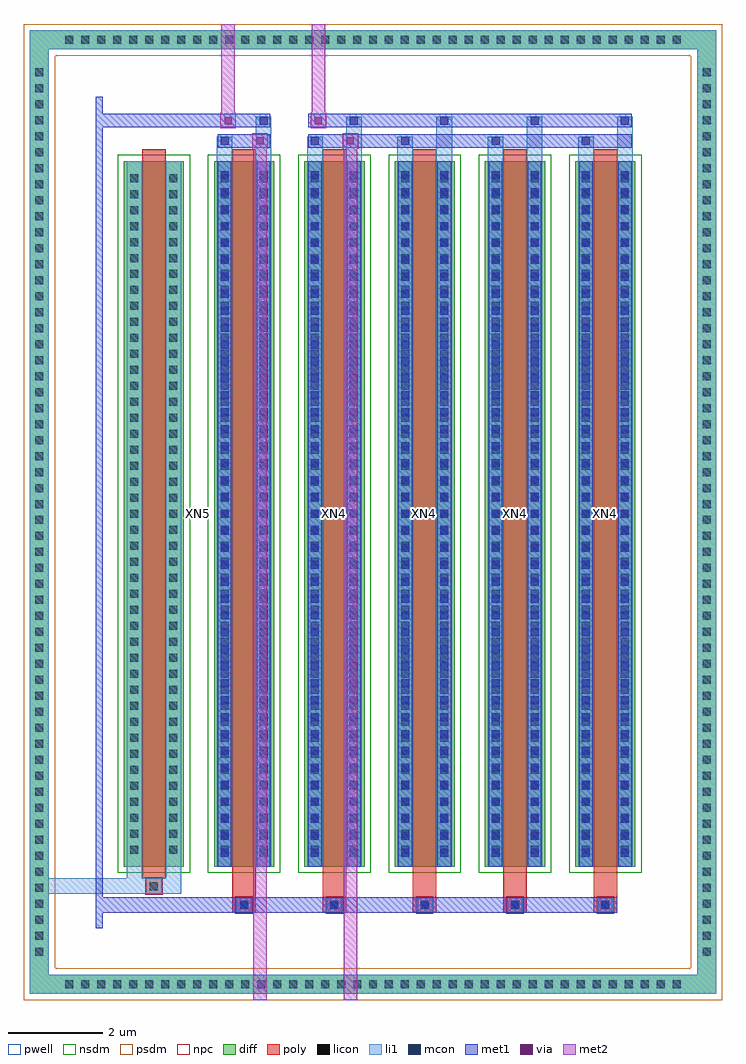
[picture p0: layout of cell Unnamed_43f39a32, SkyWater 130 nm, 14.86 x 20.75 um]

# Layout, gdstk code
import gdstk
lib = gdstk.Library(unit=1e-6, precision=1e-09)
def R(c, l, rs):  # rectangles x0, y0, x1, y1
    for r in rs: c.add(gdstk.rectangle(r[:2], r[2:], *l))
def A(c, l, x, y, w, h, nx, ny, dx, dy):  # array of equal rectangles
    R(c, l, [(x+i*dx, y+j*dy, x+i*dx+w, y+j*dy+h) for i in range(nx) for j in range(ny)])
def P(c, l, *ps):  # polygons
    for p in ps: c.add(gdstk.Polygon(p, *l))
pwell = (64, 44)
diff = (65, 20)
poly = (66, 20)
licon = (66, 44)
li1 = (67, 20)
mcon = (67, 44)
met1 = (68, 20)
via = (68, 44)
met2 = (69, 20)
nsdm = (93, 44)
psdm = (94, 20)
npc = (95, 20)

unnamed_43f39a32 = lib.new_cell('Unnamed_43f39a32')
A(unnamed_43f39a32, pwell, 0.01, -8.68, 1.9, 17.365, 4, 1, 1.92, 0)
R(unnamed_43f39a32, pwell, [(-5.65,-10.335,9.21,10.415), (-3.83,-8.68,-0.01,8.685)])
A(unnamed_43f39a32, diff, -4.885, -10.205, 0.41, 0.41, 39, 2, 0.34, 20.08)
A(unnamed_43f39a32, diff, -5.52, -9.515, 0.41, 0.41, 1, 56, 0, 0.34)
A(unnamed_43f39a32, diff, 8.67, -9.515, 0.41, 0.41, 1, 56, 0, 0.34)
A(unnamed_43f39a32, diff, -3.52, -7.5, 1.28, 15, 6, 1, 1.92, 0)
R(unnamed_43f39a32, diff, [(-4.885,-10.205,8.445,-9.795), (-5.52,-9.515,-5.11,9.595), (8.67,-9.515,9.08,9.595), (-4.885,9.875,8.445,10.285)])
P(unnamed_43f39a32, diff, [(9.08,10.285),(-5.52,10.285),(-5.52,-9.795),(-5.11,-9.795),(-5.11,9.875),(8.67,9.875),(8.67,-9.795),(-5.11,-9.795),(-5.52,-9.795),(-5.52,-10.205),(9.08,-10.205)])
A(unnamed_43f39a32, poly, -1.21, -8.48, 0.5, 0.33, 5, 1, 1.92, 0)
A(unnamed_43f39a32, poly, -1.125, -8.48, 0.33, 0.33, 5, 1, 1.92, 0)
A(unnamed_43f39a32, poly, -1.21, -8.15, 0.5, 0.4, 5, 1, 1.92, 0)
A(unnamed_43f39a32, poly, -3.13, -7.75, 0.5, 15.5, 6, 1, 1.92, 0)
R(unnamed_43f39a32, poly, [(-3.045,-8.08,-2.715,-7.75), (-3.045,-8.08,-2.715,-7.75)])
A(unnamed_43f39a32, licon, -4.765, -10.085, 0.17, 0.17, 39, 2, 0.34, 20.08)
A(unnamed_43f39a32, licon, -5.4, -9.395, 0.17, 0.17, 1, 56, 0, 0.34)
A(unnamed_43f39a32, licon, 8.79, -9.395, 0.17, 0.17, 1, 56, 0, 0.34)
A(unnamed_43f39a32, licon, -1.045, -8.4, 0.17, 0.17, 5, 1, 1.92, 0)
A(unnamed_43f39a32, licon, -3.38, -7.225, 0.17, 0.17, 1, 43, 0, 0.34)
A(unnamed_43f39a32, licon, -2.55, -7.225, 0.17, 0.17, 1, 43, 0, 0.34)
A(unnamed_43f39a32, licon, -1.46, -7.225, 0.17, 0.17, 1, 43, 0, 0.34)
A(unnamed_43f39a32, licon, -0.63, -7.225, 0.17, 0.17, 1, 43, 0, 0.34)
A(unnamed_43f39a32, licon, 0.46, -7.225, 0.17, 0.17, 1, 43, 0, 0.34)
A(unnamed_43f39a32, licon, 1.29, -7.225, 0.17, 0.17, 1, 43, 0, 0.34)
A(unnamed_43f39a32, licon, 2.38, -7.225, 0.17, 0.17, 1, 43, 0, 0.34)
A(unnamed_43f39a32, licon, 3.21, -7.225, 0.17, 0.17, 1, 43, 0, 0.34)
A(unnamed_43f39a32, licon, 4.3, -7.225, 0.17, 0.17, 1, 43, 0, 0.34)
A(unnamed_43f39a32, licon, 5.13, -7.225, 0.17, 0.17, 1, 43, 0, 0.34)
A(unnamed_43f39a32, licon, 6.22, -7.225, 0.17, 0.17, 1, 43, 0, 0.34)
A(unnamed_43f39a32, licon, 7.05, -7.225, 0.17, 0.17, 1, 43, 0, 0.34)
R(unnamed_43f39a32, licon, [(-2.965,-8,-2.795,-7.83)])
A(unnamed_43f39a32, li1, -4.845, -10.165, 0.33, 0.33, 39, 2, 0.34, 20.08)
A(unnamed_43f39a32, li1, -5.48, -9.475, 0.33, 0.33, 1, 56, 0, 0.34)
A(unnamed_43f39a32, li1, 8.71, -9.475, 0.33, 0.33, 1, 56, 0, 0.34)
A(unnamed_43f39a32, li1, -1.125, -8.48, 0.33, 0.33, 5, 1, 1.92, 0)
A(unnamed_43f39a32, li1, -3.46, -7.305, 0.33, 0.33, 1, 43, 0, 0.34)
A(unnamed_43f39a32, li1, -2.63, -7.305, 0.33, 0.33, 1, 43, 0, 0.34)
A(unnamed_43f39a32, li1, -1.54, -7.305, 0.33, 0.33, 1, 43, 0, 0.34)
A(unnamed_43f39a32, li1, -0.71, -7.305, 0.33, 0.33, 1, 43, 0, 0.34)
A(unnamed_43f39a32, li1, 0.38, -7.305, 0.33, 0.33, 1, 43, 0, 0.34)
A(unnamed_43f39a32, li1, 1.21, -7.305, 0.33, 0.33, 1, 43, 0, 0.34)
A(unnamed_43f39a32, li1, 2.3, -7.305, 0.33, 0.33, 1, 43, 0, 0.34)
A(unnamed_43f39a32, li1, 3.13, -7.305, 0.33, 0.33, 1, 43, 0, 0.34)
A(unnamed_43f39a32, li1, 4.22, -7.305, 0.33, 0.33, 1, 43, 0, 0.34)
A(unnamed_43f39a32, li1, 5.05, -7.305, 0.33, 0.33, 1, 43, 0, 0.34)
A(unnamed_43f39a32, li1, 6.14, -7.305, 0.33, 0.33, 1, 43, 0, 0.34)
A(unnamed_43f39a32, li1, 6.97, -7.305, 0.33, 0.33, 1, 43, 0, 0.34)
A(unnamed_43f39a32, li1, -1.46, -7.285, 0.17, 0.17, 1, 41, 0, 0.36)
A(unnamed_43f39a32, li1, -0.63, -7.285, 0.17, 0.17, 1, 41, 0, 0.36)
A(unnamed_43f39a32, li1, 0.46, -7.285, 0.17, 0.17, 1, 41, 0, 0.36)
A(unnamed_43f39a32, li1, 1.29, -7.285, 0.17, 0.17, 1, 41, 0, 0.36)
A(unnamed_43f39a32, li1, 2.38, -7.285, 0.17, 0.17, 1, 41, 0, 0.36)
A(unnamed_43f39a32, li1, 3.21, -7.285, 0.17, 0.17, 1, 41, 0, 0.36)
A(unnamed_43f39a32, li1, 4.3, -7.285, 0.17, 0.17, 1, 41, 0, 0.36)
A(unnamed_43f39a32, li1, 5.13, -7.285, 0.17, 0.17, 1, 41, 0, 0.36)
A(unnamed_43f39a32, li1, 6.22, -7.285, 0.17, 0.17, 1, 41, 0, 0.36)
A(unnamed_43f39a32, li1, 7.05, -7.285, 0.17, 0.17, 1, 41, 0, 0.36)
A(unnamed_43f39a32, li1, -1.54, 7.5, 0.33, 0.515, 5, 1, 1.92, 0)
A(unnamed_43f39a32, li1, -0.71, 7.5, 0.33, 0.945, 5, 1, 1.92, 0)
A(unnamed_43f39a32, li1, -1.46, 7.845, 0.17, 0.17, 5, 1, 1.92, 0)
A(unnamed_43f39a32, li1, -0.63, 8.275, 0.17, 0.17, 5, 1, 1.92, 0)
R(unnamed_43f39a32, li1, [(-5.52,-10.205,-5.11,-9.795), (-5.52,-10.205,-5.11,-9.795), (-5.11,-10.205,8.67,-9.795), (8.67,-10.205,9.08,-9.795), (8.67,-10.205,9.08,-9.795), (-5.52,-9.795,-5.11,9.875), (8.67,-9.795,9.08,9.875), (-5.52,-8.08,-3.045,-7.75), (-3.46,-8.08,-3.045,-7.75), (-3.46,-8.08,-3.13,-7.5), (-3.045,-8.08,-2.715,-7.75), (-2.715,-8.08,-2.3,-7.75), (-2.63,-8.08,-2.3,-7.5), (-3.46,-7.5,-3.13,7.5), (-2.63,-7.5,-2.3,7.5), (-1.54,-7.5,-1.21,7.5), (-0.71,-7.5,-0.38,7.5), (0.38,-7.5,0.71,7.5), (1.21,-7.5,1.54,7.5), (2.3,-7.5,2.63,7.5), (3.13,-7.5,3.46,7.5), (4.22,-7.5,4.55,7.5), (5.05,-7.5,5.38,7.5), (6.14,-7.5,6.47,7.5), (6.97,-7.5,7.3,7.5), (-1.46,-7.285,-1.29,7.285), (-0.63,-7.285,-0.46,7.285), (0.46,-7.285,0.63,7.285), (1.29,-7.285,1.46,7.285), (2.38,-7.285,2.55,7.285), (3.21,-7.285,3.38,7.285), (4.3,-7.285,4.47,7.285), (5.13,-7.285,5.3,7.285), (6.22,-7.285,6.39,7.285), (7.05,-7.285,7.22,7.285), (-5.52,9.875,-5.11,10.285), (-5.52,9.875,-5.11,10.285), (-5.11,9.875,8.67,10.285), (8.67,9.875,9.08,10.285), (8.67,9.875,9.08,10.285)])
A(unnamed_43f39a32, mcon, -1.045, -8.4, 0.17, 0.17, 5, 1, 1.92, 0)
A(unnamed_43f39a32, mcon, -1.46, -7.285, 0.17, 0.17, 1, 41, 0, 0.36)
A(unnamed_43f39a32, mcon, -0.63, -7.285, 0.17, 0.17, 1, 41, 0, 0.36)
A(unnamed_43f39a32, mcon, 0.46, -7.285, 0.17, 0.17, 1, 41, 0, 0.36)
A(unnamed_43f39a32, mcon, 1.29, -7.285, 0.17, 0.17, 1, 41, 0, 0.36)
A(unnamed_43f39a32, mcon, 2.38, -7.285, 0.17, 0.17, 1, 41, 0, 0.36)
A(unnamed_43f39a32, mcon, 3.21, -7.285, 0.17, 0.17, 1, 41, 0, 0.36)
A(unnamed_43f39a32, mcon, 4.3, -7.285, 0.17, 0.17, 1, 41, 0, 0.36)
A(unnamed_43f39a32, mcon, 5.13, -7.285, 0.17, 0.17, 1, 41, 0, 0.36)
A(unnamed_43f39a32, mcon, 6.22, -7.285, 0.17, 0.17, 1, 41, 0, 0.36)
A(unnamed_43f39a32, mcon, 7.05, -7.285, 0.17, 0.17, 1, 41, 0, 0.36)
A(unnamed_43f39a32, mcon, -1.46, 7.845, 0.17, 0.17, 5, 1, 1.92, 0)
A(unnamed_43f39a32, mcon, -0.63, 8.275, 0.17, 0.17, 5, 1, 1.92, 0)
A(unnamed_43f39a32, met1, -1.21, -8.48, 0.5, 0.33, 5, 1, 1.92, 0)
A(unnamed_43f39a32, met1, -0.71, -8.48, 1.42, 0.33, 4, 1, 1.92, 0)
A(unnamed_43f39a32, met1, -1.105, -8.46, 0.29, 0.29, 5, 1, 1.92, 0)
A(unnamed_43f39a32, met1, -1.52, -7.345, 0.29, 0.29, 1, 41, 0, 0.36)
A(unnamed_43f39a32, met1, -0.69, -7.345, 0.29, 0.29, 1, 41, 0, 0.36)
A(unnamed_43f39a32, met1, 0.4, -7.345, 0.29, 0.29, 1, 41, 0, 0.36)
A(unnamed_43f39a32, met1, 1.23, -7.345, 0.29, 0.29, 1, 41, 0, 0.36)
A(unnamed_43f39a32, met1, 2.32, -7.345, 0.29, 0.29, 1, 41, 0, 0.36)
A(unnamed_43f39a32, met1, 3.15, -7.345, 0.29, 0.29, 1, 41, 0, 0.36)
A(unnamed_43f39a32, met1, 4.24, -7.345, 0.29, 0.29, 1, 41, 0, 0.36)
A(unnamed_43f39a32, met1, 5.07, -7.345, 0.29, 0.29, 1, 41, 0, 0.36)
A(unnamed_43f39a32, met1, 6.16, -7.345, 0.29, 0.29, 1, 41, 0, 0.36)
A(unnamed_43f39a32, met1, 6.99, -7.345, 0.29, 0.29, 1, 41, 0, 0.36)
A(unnamed_43f39a32, met1, -1.52, 7.785, 0.29, 0.29, 5, 1, 1.92, 0)
A(unnamed_43f39a32, met1, -1.52, 7.785, 1.12, 0.29, 5, 2, 1.92, 0.43)
A(unnamed_43f39a32, met1, 1.52, 7.785, 0.8, 0.29, 3, 2, 1.92, 0.43)
A(unnamed_43f39a32, met1, -0.69, 8.215, 0.29, 0.29, 5, 1, 1.92, 0)
R(unnamed_43f39a32, met1, [(-4.11,-8.805,-3.97,8.865), (-3.97,-8.48,-1.21,-8.15), (-1.52,-7.5,-1.23,7.5), (-0.69,-7.5,-0.4,7.5), (0.4,-7.5,0.69,7.5), (1.23,-7.5,1.52,7.5), (2.32,-7.5,2.61,7.5), (3.15,-7.5,3.44,7.5), (4.24,-7.5,4.53,7.5), (5.07,-7.5,5.36,7.5), (6.16,-7.5,6.45,7.5), (6.99,-7.5,7.28,7.5), (-3.97,8.215,-1.52,8.505)])
R(unnamed_43f39a32, via, [(-0.695,7.855,-0.545,8.005), (1.225,7.855,1.375,8.005), (-1.375,8.285,-1.225,8.435), (0.545,8.285,0.695,8.435)])
R(unnamed_43f39a32, met2, [(-0.765,-10.335,-0.475,7.93), (1.155,-10.335,1.445,7.93), (-0.785,7.765,-0.455,8.095), (1.135,7.765,1.465,8.095), (-1.465,8.195,-1.135,8.525), (0.455,8.195,0.785,8.525), (-1.445,8.36,-1.155,10.415), (0.475,8.36,0.765,10.415)])
A(unnamed_43f39a32, nsdm, -3.65, -7.63, 1.54, 15.26, 6, 1, 1.92, 0)
P(unnamed_43f39a32, psdm, [(9.21,10.415),(-5.65,10.415),(-5.65,-9.665),(-4.98,-9.665),(-4.98,9.745),(8.54,9.745),(8.54,-9.665),(-4.98,-9.665),(-5.65,-9.665),(-5.65,-10.335),(9.21,-10.335)])
R(unnamed_43f39a32, npc, [(-1.145,-8.5,-0.775,-8.13), (0.775,-8.5,1.145,-8.13), (0.775,-8.5,1.145,-8.13), (2.695,-8.5,3.065,-8.13), (2.695,-8.5,3.065,-8.13), (4.615,-8.5,4.985,-8.13), (4.615,-8.5,4.985,-8.13), (6.535,-8.5,6.905,-8.13), (6.535,-8.5,6.905,-8.13), (-3.065,-8.1,-2.695,-7.73)])
unnamed_43f39a32.add(gdstk.Label('XN5', (-1.92,0.005), layer=71, texttype=5))
unnamed_43f39a32.add(gdstk.Label('XN4', (0.96,0.005), layer=71, texttype=5))
unnamed_43f39a32.add(gdstk.Label('XN4', (2.88,0.005), layer=71, texttype=5))
unnamed_43f39a32.add(gdstk.Label('XN4', (4.8,0.005), layer=71, texttype=5))
unnamed_43f39a32.add(gdstk.Label('XN4', (6.72,0.005), layer=71, texttype=5))

lib.write_gds('Unnamed_43f39a32.gds')
